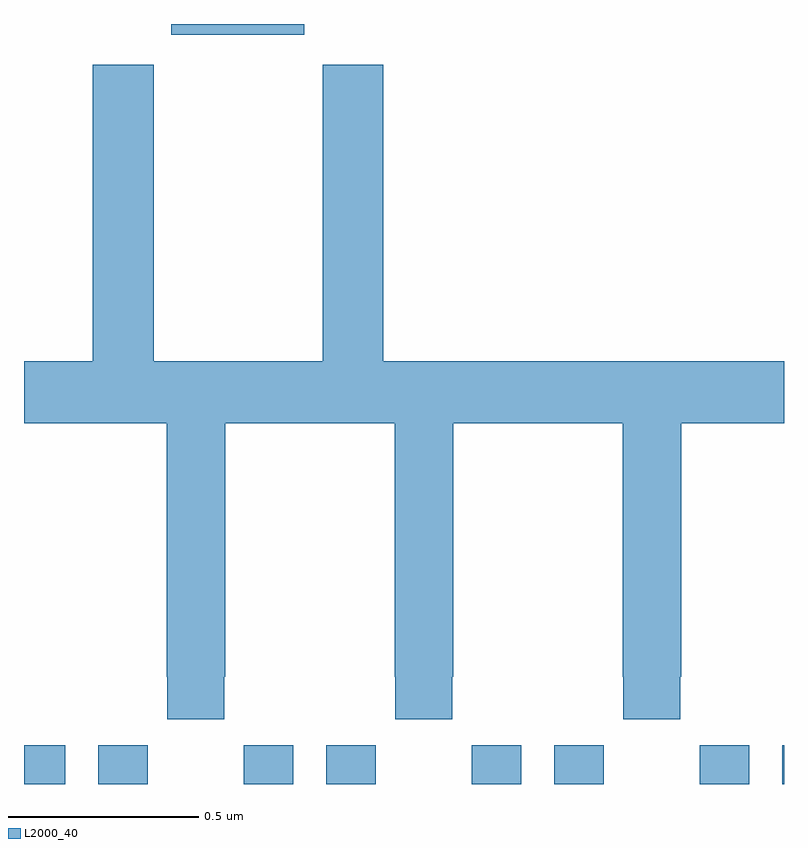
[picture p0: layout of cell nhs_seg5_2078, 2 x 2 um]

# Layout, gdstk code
import gdstk
lib = gdstk.Library(unit=1e-6, precision=1e-09)
def R(c, l, rs):  # rectangles x0, y0, x1, y1
    for r in rs: c.add(gdstk.rectangle(r[:2], r[2:], *l))
def P(c, l, *ps):  # polygons
    for p in ps: c.add(gdstk.Polygon(p, *l))
L2000_40 = (2000, 40)

nhs_seg5_2078 = lib.new_cell('nhs_seg5_2078')
R(nhs_seg5_2078, L2000_40, [(139,867.799,139.108,867.901), (139.196,867.799,139.326,867.901), (139.578,867.799,139.708,867.901), (139.796,867.799,139.926,867.901), (140.178,867.799,140.308,867.901), (140.396,867.799,140.526,867.901), (140.778,867.799,140.908,867.901), (140.996,867.799,141,867.901), (139.388,869.771,139.738,869.799)])
P(nhs_seg5_2078, L2000_40, [(139.946,869.692),(139.786,869.692),(139.786,868.912),(139.341,868.912),(139.341,869.692),(139.181,869.692),(139.181,868.912),(139,868.912),(139,868.748),(139.375,868.748),(139.375,868.081),(139.377,868.081),(139.377,867.969),(139.527,867.969),(139.527,868.081),(139.53,868.081),(139.53,868.748),(139.975,868.748),(139.975,868.081),(139.977,868.081),(139.977,867.969),(140.127,867.969),(140.127,868.081),(140.13,868.081),(140.13,868.748),(140.575,868.748),(140.575,868.081),(140.577,868.081),(140.577,867.969),(140.727,867.969),(140.727,868.081),(140.73,868.081),(140.73,868.748),(141,868.748),(141,868.912),(139.946,868.912)])

lib.write_gds('nhs_seg5_2078.gds')
